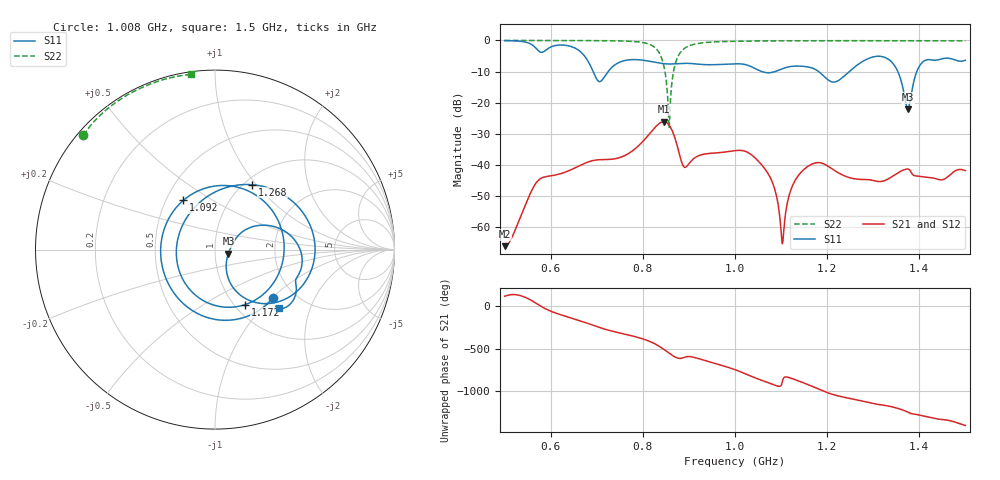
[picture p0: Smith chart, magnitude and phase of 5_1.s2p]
! TOUCHSTONE file generated by CST MICROWAVE STUDIO
! Date and time: Sat Nov 14 20:32:51 2020
! Project name: Scenario_1_Planar_Body_Tissue_Out_of_Line_v2.cst
! Parameters = {dy1=276.8; L_HA=400; Ltissue=700; MT=2.54; Rad_Dielectric=30; Rad_Lower=7.3; Rad_Upper=30; Wtissue=700; a_HA=580; a_WG=246; b_HA=500; b_WG=121; c_HA=0; c_WG=187; d_feed=85; dx1=173; h_feed=15; h_lower=18; h_upper=40; hfat=3; hgap=25; hmuscle=50; hskin=1.5}
! Header version: 2018
! Port assignment regex: !\s*Touchstone port\s*([0-9]+)\s*=\s*(CST MWS port|CST DS port)\s*([0-9]+|Zmin|Zmax)\s*\(\"(.*)\"\)(\s*mode\s*([0-9]+))?.*
! Touchstone port assignment:
! Touchstone port 1 = CST MWS port 1 ("")
! Touchstone port 2 = CST MWS port 2 ("")
# GHz S DB R 50
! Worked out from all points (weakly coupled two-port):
!   1003 points, 500 MHz to 1.5 GHz, reference 50 ohm
!   highest |S21| = -26.08 dB at 845 MHz (marker M1); lowest = -66.1 dB at 500 MHz (marker M2)
!   lowest |S11| = -22.2 dB at 1.375 GHz (marker M3), VSWR 1.17, Z = 58 - j2.58 ohm
!   |S11| at or under -10 dB: 692.1 MHz to 724.6 MHz (32.48 MHz wide, 4.58 % of centre); 1.182 GHz to 1.248 GHz (66.39 MHz wide, 5.47 % of centre); 1.353 GHz to 1.394 GHz (41.11 MHz wide, 2.99 % of centre) (the widest 3 of 4)
!   |S22| runs from -28.1 to 0.0 dB; largest |S21 - S12| = 1.4e-05
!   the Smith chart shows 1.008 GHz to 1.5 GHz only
!   S11 on the Smith chart (normalised r, x): 1.008 GHz: 1.56, -1.02; 1.092 GHz: 0.61, +0.38; 1.172 GHz: 1.12, -0.78; 1.268 GHz: 1.09, +0.95; 1.5 GHz: 1.47, -1.24
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0.5  -0.06 -121.8  -66.08 116.9  -66.08 116.9  -0.01 151.1
0.625  -1.48 174.9  -42.63 -107.1  -42.63 -107.1  -0.03 142.1
0.667  -3.94 111.4  -39.93 -179.0  -39.93 -179.0  -0.04 138.4
0.694  -10.64 31.3  -38.52 130.4  -38.52 130.4  -0.06 135.5
0.721  -10.73 -105.2  -38.25 83.6  -38.25 83.6  -0.09 132.1
0.765  -6.33 158.4  -36.65 25.1  -36.65 25.1  -0.23 124.2
0.834  -7.23 19.4  -26.86 -107.5  -26.86 -107.5  -3.62 82.5
0.845  -7.46 -8.7  -26.08 -146.7  -26.08 -146.7  -7.83 62.3
0.858  -7.56 -44.2  -27.39 162.1  -27.39 162.1  -25.66 -90.3
0.904  -7.41 -179.3  -38.89 124.4  -38.89 124.4  -1.53 165.3
0.944  -7.80 82.7  -36.29 65.7  -36.29 65.7  -0.58 150.0
1  -7.51 -23.9  -35.39 -28.1  -35.39 -28.1  -0.27 140.0
1.008  -7.50 -39.4  -35.31 -44.4  -35.31 -44.4  -0.26 139.0
1.092  -9.73 122.7  -51.39 139.1  -51.39 139.1  -0.13 130.4
1.104  -9.03 90.7  -64.31 -144.2  -64.31 -144.2  -0.12 129.3
1.167  -8.84 -49.2  -39.72 136.7  -39.72 136.7  -0.10 124.2
1.172  -9.13 -61.3  -39.44 125.2  -39.44 125.2  -0.10 123.8
1.268  -7.62 60.4  -44.59 -27.9  -44.59 -27.9  -0.09 116.5
1.334  -6.16 -32.2  -44.35 -97.4  -44.35 -97.4  -0.08 111.5
1.375  -22.18 -16.5  -41.30 -167.1  -41.30 -167.1  -0.09 108.3
1.409  -6.74 3.8  -43.83 146.9  -43.83 146.9  -0.09 105.6
1.5  -6.36 -42.6  -41.82 35.4  -41.82 35.4  -0.13 97.9
